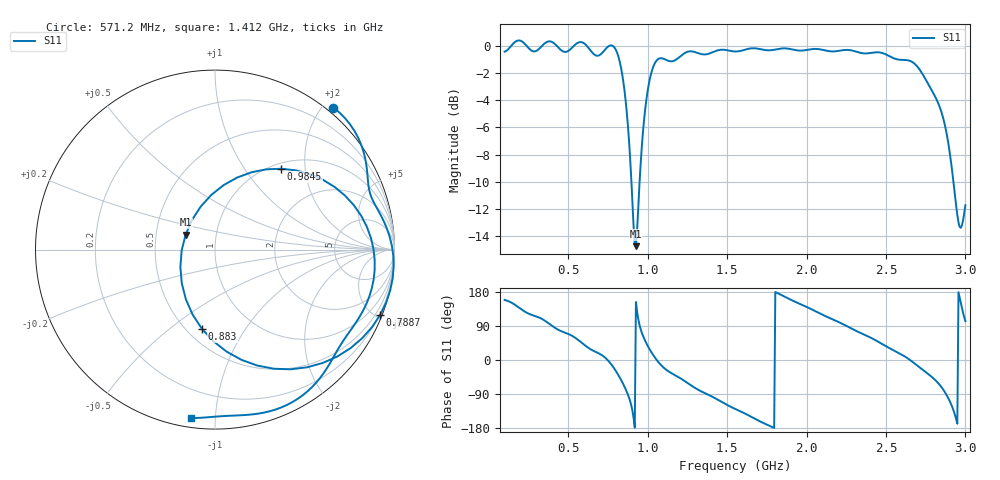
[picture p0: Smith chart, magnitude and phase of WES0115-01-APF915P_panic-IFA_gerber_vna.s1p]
! openEMS-z2labs kicad_sim, WES0115-01-APF915P_panic-IFA.kicad_pcb
! ports: 1=SMA5 (F.Cu over B.Cu)
! stackup: file
! copper: sheet, mask: False
# Hz S RI R 50
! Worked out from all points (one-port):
!   401 points, 100 MHz to 3 GHz, reference 50 ohm
!   lowest |S11| = -14.7 dB at 926.5 MHz (marker M1), VSWR 1.45, Z = 35.5 + j6.1 ohm
!   |S11| at or under -10 dB: 898.1 MHz to 949.7 MHz (51.58 MHz wide, 5.58 % of centre); 2.925 GHz to end of sweep
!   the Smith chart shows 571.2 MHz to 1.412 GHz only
!   S11 on the Smith chart (normalised r, x): 571.2 MHz: -0.08, +2.13; 788.8 MHz: 0.15, -5.22; 883 MHz: 0.59, -0.66; 984.5 MHz: 1.10, +1.50; 1.412 GHz: 0.05, -0.87
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1e8  -0.8856 0.3473
1.6525e8  -0.8523 0.5818
2.305e8  -0.6052 0.8096
3.8275e8  -0.0894 1.034
4.625e8  0.2488 0.9239
5.7125e8  0.6596 0.7916
7.235e8  0.9416 0.1555
7.8875e8  0.9192 -0.3655
8.25e8  0.6005 -0.6315
8.54e8  0.2365 -0.6463
8.83e8  -0.0728 -0.4413
9.265e8  -0.1637 0.0831
9.845e8  0.3691 0.4506
1.057e9  0.8831 0.00304
1.1875e9  0.6502 -0.6165
1.28175e9  0.3358 -0.8916
1.41225e9  -0.1323 -0.9388
1.55e9  -0.5977 -0.7417
1.7095e9  -0.9262 -0.2921
1.9125e9  -0.8889 0.3843
2.09375e9  -0.4958 0.8314
2.275e9  0.0881 0.9591
2.44175e9  0.6021 0.7299
2.6375e9  0.8818 0.0637
2.74625e9  0.6527 -0.3865
2.84775e9  0.1901 -0.5416
2.9275e9  -0.2199 -0.213
3e9  -0.0563 0.2533
